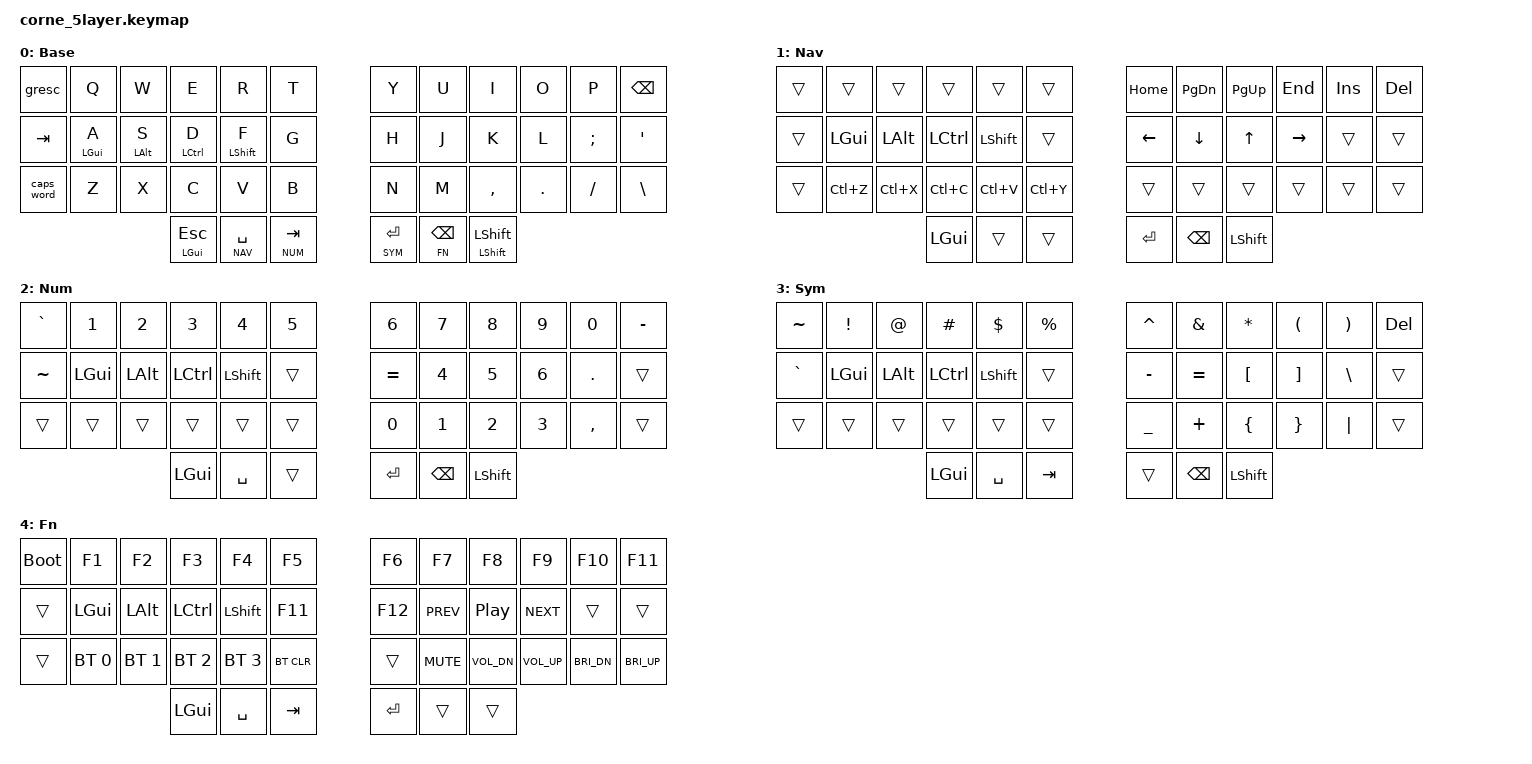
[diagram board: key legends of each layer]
/*
 * Corne 3x6+3 ZMK Keymap
 *
 * Layers: 0=Base, 1=NAV, 2=NUM, 3=SYM, 4=FN
 *
 * Key positions:
 *  0  1  2  3  4  5          6  7  8  9 10 11
 * 12 13 14 15 16 17         18 19 20 21 22 23
 * 24 25 26 27 28 29         30 31 32 33 34 35
 *             36 37 38   39 40 41
 */

#include <behaviors.dtsi>
#include <dt-bindings/zmk/bt.h>
#include <dt-bindings/zmk/keys.h>

#define BASE 0
#define NAV  1
#define NUM  2
#define SYM  3
#define FN   4

/* Left hand key positions for positional hold-tap */
#define KEYS_L 0 1 2 3 4 5 12 13 14 15 16 17 24 25 26 27 28 29
/* Right hand key positions */
#define KEYS_R 6 7 8 9 10 11 18 19 20 21 22 23 30 31 32 33 34 35
/* Thumb key positions */
#define THUMBS 36 37 38 39 40 41

/ {
    behaviors {
        /* Homerow mods - left hand only */
        hml: homerow_mod_left {
            compatible = "zmk,behavior-hold-tap";
            #binding-cells = <2>;
            flavor = "balanced";
            tapping-term-ms = <200>;
            quick-tap-ms = <150>;
            require-prior-idle-ms = <125>;
            bindings = <&kp>, <&kp>;
            hold-trigger-key-positions = <KEYS_R THUMBS>;
            hold-trigger-on-release;
        };

        /* Thumb layer-tap (for SP/NAV, TB/NUM, EN/SYM, BS/FN) */
        tlt: thumb_layer_tap {
            compatible = "zmk,behavior-hold-tap";
            #binding-cells = <2>;
            flavor = "balanced";
            tapping-term-ms = <200>;
            quick-tap-ms = <150>;
            bindings = <&mo>, <&kp>;
        };

        /* Thumb mod-tap (for GU/ESC) */
        tmt: thumb_mod_tap {
            compatible = "zmk,behavior-hold-tap";
            #binding-cells = <2>;
            flavor = "balanced";
            tapping-term-ms = <200>;
            quick-tap-ms = <150>;
            bindings = <&kp>, <&kp>;
        };

        /* Thumb shift / sticky shift (hold=Shift, tap=Sticky Shift) */
        th_shft: thumb_shift {
            compatible = "zmk,behavior-hold-tap";
            #binding-cells = <2>;
            flavor = "balanced";
            tapping-term-ms = <200>;
            quick-tap-ms = <150>;
            bindings = <&kp>, <&sk>;
        };
    };

    combos {
        compatible = "zmk,combos";

        /* 한/영 전환: TB/NUM(38) + EN/SYM(39) 동시 = Shift+Space */
        combo_hangul {
            timeout-ms = <50>;
            key-positions = <38 39>;
            bindings = <&kp LS(SPACE)>;
            layers = <BASE>;
        };
    };

    keymap {
        compatible = "zmk,keymap";

        /* Layer 0: Base (QWERTY + left homerow mods) */
        base_layer {
            display-name = "Base";
// ┌──────┬──────┬──────┬──────┬──────┬──────┐          ┌──────┬──────┬──────┬──────┬──────┬──────┐
// │GRESC │  Q   │  W   │  E   │  R   │  T   │          │  Y   │  U   │  I   │  O   │  P   │ BSPC │
// ├──────┼──────┼──────┼──────┼──────┼──────┤          ├──────┼──────┼──────┼──────┼──────┼──────┤
// │ TAB  │A/GUI │S/ALT │D/CTL │F/SHF │  G   │          │  H   │  J   │  K   │  L   │  ;   │  '   │
// ├──────┼──────┼──────┼──────┼──────┼──────┤          ├──────┼──────┼──────┼──────┼──────┼──────┤
// │CAPSWD│  Z   │  X   │  C   │  V   │  B   │          │  N   │  M   │  ,   │  .   │  /   │  \   │
// └──────┴──────┴──┬───┴──┬───┴──┬───┴──┬───┘          └──┬───┴──┬───┴──┬───┴──┬───┴──────┴──────┘
//                  │GU/ESC│SP/NAV│TB/NUM│                  │EN/SYM│BS/FN │SH/SK │
//                  └──────┴──────┴──────┘                  └──────┴──────┴──────┘
            bindings = <
    &gresc        &kp Q        &kp W        &kp E        &kp R        &kp T              &kp Y  &kp U  &kp I      &kp O    &kp P     &kp BSPC
    &kp TAB       &hml LGUI A  &hml LALT S  &hml LCTRL D &hml LSHFT F &kp G              &kp H  &kp J  &kp K      &kp L    &kp SEMI  &kp SQT
    &caps_word    &kp Z        &kp X        &kp C        &kp V        &kp B              &kp N  &kp M  &kp COMMA  &kp DOT  &kp FSLH  &kp BSLH
                               &tmt LGUI ESC &tlt NAV SPACE &tlt NUM TAB              &tlt SYM RET &tlt FN BSPC &th_shft LSHFT LSHFT
            >;
        };

        /* Layer 1: NAV (SP/NAV hold) */
        nav_layer {
            display-name = "Nav";
// ┌──────┬──────┬──────┬──────┬──────┬──────┐          ┌──────┬──────┬──────┬──────┬──────┬──────┐
// │      │      │      │      │      │      │          │ HOME │ PGDN │ PGUP │ END  │ INS  │ DEL  │
// ├──────┼──────┼──────┼──────┼──────┼──────┤          ├──────┼──────┼──────┼──────┼──────┼──────┤
// │      │ GUI  │ ALT  │ CTRL │ SHFT │      │          │  ←   │  ↓   │  ↑   │  →   │      │      │
// ├──────┼──────┼──────┼──────┼──────┼──────┤          ├──────┼──────┼──────┼──────┼──────┼──────┤
// │      │ UNDO │ CUT  │ COPY │PASTE │ REDO │          │      │      │      │      │      │      │
// └──────┴──────┴──┬───┴──┬───┴──┬───┴──┬───┘          └──┬───┴──┬───┴──┬───┴──┬───┴──────┴──────┘
//                  │ GUI  │▓▓▓▓▓│      │                  │ ENT  │ BSPC │ SHFT │
//                  └──────┴──────┴──────┘                  └──────┴──────┴──────┘
            bindings = <
    &trans  &trans    &trans    &trans     &trans     &trans              &kp HOME  &kp PG_DN &kp PG_UP &kp END   &kp INS  &kp DEL
    &trans  &kp LGUI  &kp LALT  &kp LCTRL  &kp LSHFT  &trans              &kp LEFT  &kp DOWN  &kp UP    &kp RIGHT &trans   &trans
    &trans  &kp LC(Z) &kp LC(X) &kp LC(C)  &kp LC(V)  &kp LC(Y)           &trans    &trans    &trans    &trans    &trans   &trans
                      &kp LGUI  &trans     &trans              &kp RET   &kp BSPC  &kp LSHFT
            >;
        };

        /* Layer 2: NUM (TB/NUM hold) */
        num_layer {
            display-name = "Num";
// ┌──────┬──────┬──────┬──────┬──────┬──────┐          ┌──────┬──────┬──────┬──────┬──────┬──────┐
// │  `   │  1   │  2   │  3   │  4   │  5   │          │  6   │  7   │  8   │  9   │  0   │  -   │
// ├──────┼──────┼──────┼──────┼──────┼──────┤          ├──────┼──────┼──────┼──────┼──────┼──────┤
// │  ~   │ GUI  │ ALT  │ CTRL │ SHFT │      │          │  =   │  4   │  5   │  6   │  .   │      │
// ├──────┼──────┼──────┼──────┼──────┼──────┤          ├──────┼──────┼──────┼──────┼──────┼──────┤
// │      │      │      │      │      │      │          │  0   │  1   │  2   │  3   │  ,   │      │
// └──────┴──────┴──┬───┴──┬───┴──┬───┴──┬───┘          └──┬───┴──┬───┴──┬───┴──┬───┴──────┴──────┘
//                  │ GUI  │ SPC  │▓▓▓▓▓│                  │ ENT  │ BSPC │ SHFT │
//                  └──────┴──────┴──────┘                  └──────┴──────┴──────┘
            bindings = <
    &kp GRAVE  &kp N1    &kp N2    &kp N3     &kp N4     &kp N5              &kp N6     &kp N7   &kp N8  &kp N9  &kp N0   &kp MINUS
    &kp TILDE  &kp LGUI  &kp LALT  &kp LCTRL  &kp LSHFT  &trans              &kp EQUAL  &kp N4   &kp N5  &kp N6  &kp DOT  &trans
    &trans     &trans    &trans    &trans     &trans     &trans              &kp N0     &kp N1   &kp N2  &kp N3  &kp COMMA &trans
                         &kp LGUI  &kp SPACE  &trans              &kp RET    &kp BSPC &kp LSHFT
            >;
        };

        /* Layer 3: SYM (EN/SYM hold) */
        sym_layer {
            display-name = "Sym";
// ┌──────┬──────┬──────┬──────┬──────┬──────┐          ┌──────┬──────┬──────┬──────┬──────┬──────┐
// │  ~   │  !   │  @   │  #   │  $   │  %   │          │  ^   │  &   │  *   │  (   │  )   │ DEL  │
// ├──────┼──────┼──────┼──────┼──────┼──────┤          ├──────┼──────┼──────┼──────┼──────┼──────┤
// │  `   │ GUI  │ ALT  │ CTRL │ SHFT │      │          │  -   │  =   │  [   │  ]   │  \   │      │
// ├──────┼──────┼──────┼──────┼──────┼──────┤          ├──────┼──────┼──────┼──────┼──────┼──────┤
// │      │      │      │      │      │      │          │  _   │  +   │  {   │  }   │  |   │      │
// └──────┴──────┴──┬───┴──┬───┴──┬───┴──┬───┘          └──┬───┴──┬───┴──┬───┴──┬───┴──────┴──────┘
//                  │ GUI  │ SPC  │ TAB  │                  │▓▓▓▓▓│ BSPC │ SHFT │
//                  └──────┴──────┴──────┘                  └──────┴──────┴──────┘
            bindings = <
    &kp TILDE  &kp EXCL  &kp AT    &kp HASH   &kp DLLR   &kp PRCNT           &kp CARET  &kp AMPS  &kp ASTRK &kp LPAR  &kp RPAR  &kp DEL
    &kp GRAVE  &kp LGUI  &kp LALT  &kp LCTRL  &kp LSHFT  &trans              &kp MINUS  &kp EQUAL &kp LBKT  &kp RBKT  &kp BSLH  &trans
    &trans     &trans    &trans    &trans     &trans     &trans              &kp UNDER  &kp PLUS  &kp LBRC  &kp RBRC  &kp PIPE  &trans
                         &kp LGUI  &kp SPACE  &kp TAB             &trans     &kp BSPC  &kp LSHFT
            >;
        };

        /* Layer 4: FN / System (BS/FN hold) */
        fn_layer {
            display-name = "Fn";
// ┌──────┬──────┬──────┬──────┬──────┬──────┐          ┌──────┬──────┬──────┬──────┬──────┬──────┐
// │ BOOT │  F1  │  F2  │  F3  │  F4  │  F5  │          │  F6  │  F7  │  F8  │  F9  │ F10  │ F11  │
// ├──────┼──────┼──────┼──────┼──────┼──────┤          ├──────┼──────┼──────┼──────┼──────┼──────┤
// │      │ GUI  │ ALT  │ CTRL │ SHFT │ F11  │          │  F12 │ PREV │ PLAY │ NEXT │      │      │
// ├──────┼──────┼──────┼──────┼──────┼──────┤          ├──────┼──────┼──────┼──────┼──────┼──────┤
// │      │ BT0  │ BT1  │ BT2  │ BT3  │BT_CLR│          │      │ MUTE │ VOL- │ VOL+ │ BRI- │ BRI+ │
// └──────┴──────┴──┬───┴──┬───┴──┬───┴──┬───┘          └──┬───┴──┬───┴──┬───┴──┬───┴──────┴──────┘
//                  │ GUI  │ SPC  │ TAB  │                  │ ENT  │▓▓▓▓▓│      │
//                  └──────┴──────┴──────┘                  └──────┴──────┴──────┘
            bindings = <
    &bootloader &kp F1        &kp F2        &kp F3        &kp F4        &kp F5              &kp F6   &kp F7     &kp F8       &kp F9       &kp F10       &kp F11
    &trans      &kp LGUI      &kp LALT      &kp LCTRL     &kp LSHFT     &kp F11             &kp F12  &kp C_PREV &kp C_PP     &kp C_NEXT   &trans        &trans
    &trans      &bt BT_SEL 0  &bt BT_SEL 1  &bt BT_SEL 2  &bt BT_SEL 3  &bt BT_CLR          &trans   &kp C_MUTE &kp C_VOL_DN &kp C_VOL_UP &kp C_BRI_DN  &kp C_BRI_UP
                              &kp LGUI      &kp SPACE     &kp TAB             &kp RET  &trans     &trans
            >;
        };
    };
};
